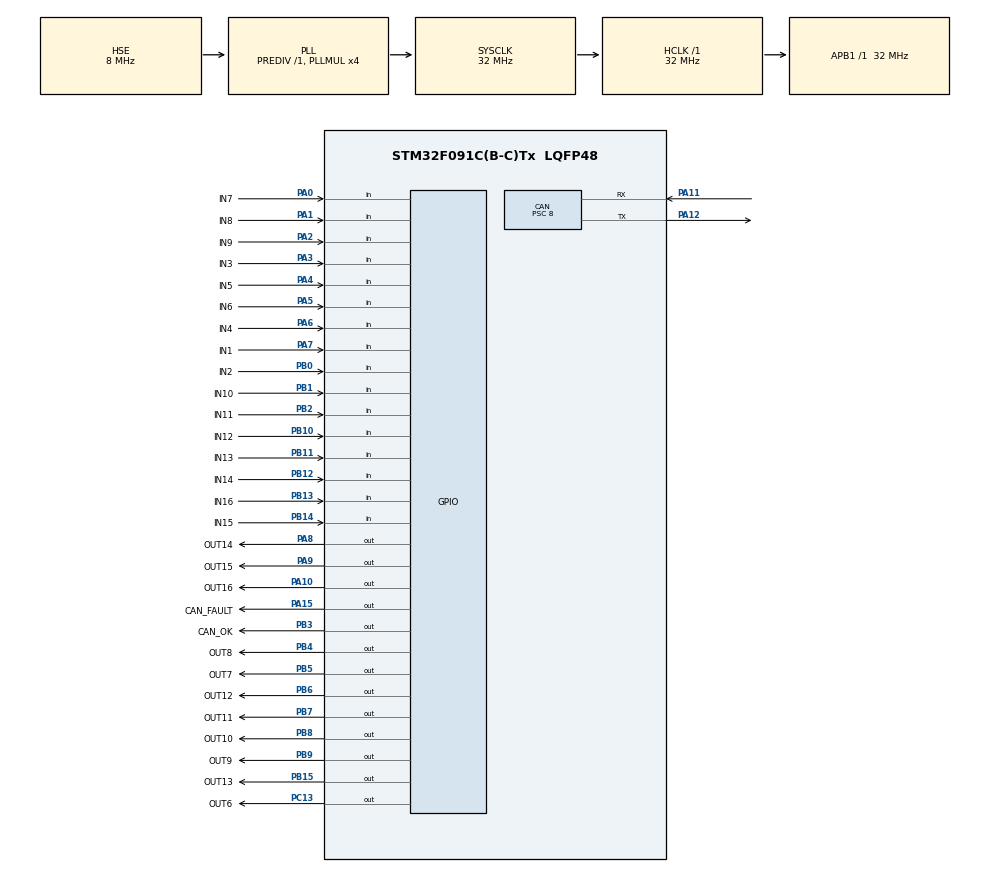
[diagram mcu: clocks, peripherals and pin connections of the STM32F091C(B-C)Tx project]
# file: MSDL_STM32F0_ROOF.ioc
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CAN.ABOM=ENABLE
CAN.AWUM=ENABLE
CAN.BS1=CAN_BS1_13TQ
CAN.BS2=CAN_BS2_2TQ
CAN.CalculateBaudRate=250000
CAN.CalculateTimeBit=4000
CAN.CalculateTimeQuantum=250.0
CAN.NART=ENABLE
CAN.Prescaler=8
FREERTOS.Tasks01=inputCheckT,24,512,inputCheck,Default,NULL,Dynamic,NULL,NULL;canOpenManagerT,40,1024,canOpenManager,Default,NULL,Dynamic,NULL,NULL;tpdoRequesterT,8,512,tpdoRequester,Default,NULL,Dynamic,NULL,NULL
FREERTOS.configTOTAL_HEAP_SIZE=16380
Mcu.Family=STM32F0
Mcu.Name=STM32F091C(B-C)Tx
Mcu.Package=LQFP48
NVIC.CEC_CAN_IRQn=true\:3\:0\:false\:false\:true\:true\:true\:true\:true
NVIC.TIM1_BRK_UP_TRG_COM_IRQn=true\:3\:0\:false\:false\:true\:false\:false\:true\:true
NVIC.TIM2_IRQn=true\:3\:0\:false\:false\:true\:true\:true\:true\:true
NVIC.TimeBase=TIM1_BRK_UP_TRG_COM_IRQn
NVIC.TimeBaseIP=TIM1
PA0.GPIO_Label=IN7
PA0.GPIO_PuPd=GPIO_PULLUP
PA0.Signal=GPIO_Input
PA1.GPIO_Label=IN8
PA1.GPIO_PuPd=GPIO_PULLUP
PA1.Signal=GPIO_Input
PA10.GPIO_Label=OUT16
PA10.GPIO_PuPd=GPIO_PULLUP
PA10.Signal=GPIO_Output
PA11.GPIO_PuPd=GPIO_PULLUP
PA11.Mode=CAN_Activate
PA11.Signal=CAN_RX
PA12.GPIO_PuPd=GPIO_PULLUP
PA12.Mode=CAN_Activate
PA12.Signal=CAN_TX
PA13.Mode=Serial_Wire
PA13.Signal=SYS_SWDIO
PA14.Mode=Serial_Wire
PA14.Signal=SYS_SWCLK
PA15.GPIO_Label=CAN_FAULT
PA15.GPIO_PuPd=GPIO_PULLUP
PA15.Signal=GPIO_Output
PA2.GPIO_Label=IN9
PA2.GPIO_PuPd=GPIO_PULLUP
PA2.Signal=GPIO_Input
PA3.GPIO_Label=IN3
PA3.GPIO_PuPd=GPIO_PULLUP
PA3.Signal=GPIO_Input
PA4.GPIO_Label=IN5
PA4.GPIO_PuPd=GPIO_PULLUP
PA4.Signal=GPIO_Input
PA5.GPIO_Label=IN6
PA5.GPIO_PuPd=GPIO_PULLUP
PA5.Signal=GPIO_Input
PA6.GPIO_Label=IN4
PA6.GPIO_PuPd=GPIO_PULLUP
PA6.Signal=GPIO_Input
PA7.GPIO_Label=IN1
PA7.GPIO_PuPd=GPIO_PULLUP
PA7.Signal=GPIO_Input
PA8.GPIO_Label=OUT14
PA8.GPIO_PuPd=GPIO_PULLUP
PA8.Signal=GPIO_Output
PA9.GPIO_Label=OUT15
PA9.GPIO_PuPd=GPIO_PULLUP
PA9.Signal=GPIO_Output
PB0.GPIO_Label=IN2
PB0.GPIO_PuPd=GPIO_PULLUP
PB0.Signal=GPIO_Input
PB1.GPIO_Label=IN10
PB1.GPIO_PuPd=GPIO_PULLUP
PB1.Signal=GPIO_Input
PB10.GPIO_Label=IN12
PB10.GPIO_PuPd=GPIO_PULLUP
PB10.Signal=GPIO_Input
PB11.GPIO_Label=IN13
PB11.GPIO_PuPd=GPIO_PULLUP
PB11.Signal=GPIO_Input
PB12.GPIO_Label=IN14
PB12.GPIO_PuPd=GPIO_PULLUP
PB12.Signal=GPIO_Input
PB13.GPIO_Label=IN16
PB13.GPIO_PuPd=GPIO_PULLUP
PB13.Signal=GPIO_Input
PB14.GPIO_Label=IN15
PB14.GPIO_PuPd=GPIO_PULLUP
PB14.Signal=GPIO_Input
PB15.GPIO_Label=OUT13
PB15.GPIO_PuPd=GPIO_PULLUP
PB15.Signal=GPIO_Output
PB2.GPIO_Label=IN11
PB2.GPIO_PuPd=GPIO_PULLUP
PB2.Signal=GPIO_Input
PB3.GPIO_Label=CAN_OK
PB3.GPIO_PuPd=GPIO_PULLUP
PB3.Signal=GPIO_Output
PB4.GPIO_Label=OUT8
PB4.GPIO_PuPd=GPIO_PULLUP
PB4.Signal=GPIO_Output
PB5.GPIO_Label=OUT7
PB5.GPIO_PuPd=GPIO_PULLUP
PB5.Signal=GPIO_Output
PB6.GPIO_Label=OUT12
PB6.GPIO_PuPd=GPIO_PULLUP
PB6.Signal=GPIO_Output
PB7.GPIO_Label=OUT11
PB7.GPIO_PuPd=GPIO_PULLUP
PB7.Signal=GPIO_Output
PB8.GPIO_Label=OUT10
PB8.GPIO_PuPd=GPIO_PULLUP
PB8.Signal=GPIO_Output
PB9.GPIO_Label=OUT9
PB9.GPIO_PuPd=GPIO_PULLUP
PB9.Signal=GPIO_Output
PC13.GPIO_Label=OUT6
PC13.GPIO_PuPd=GPIO_PULLUP
PC13.Signal=GPIO_Output
PC14OSC32_IN.GPIO_Label=OUT5
PC14OSC32_IN.GPIO_PuPd=GPIO_PULLUP
PC14OSC32_IN.Signal=GPIO_Output
PF0-OSC_IN.Mode=HSE-External-Oscillator
PF0-OSC_IN.Signal=RCC_OSC_IN
PF1-OSC_OUT.Mode=HSE-External-Oscillator
PF1-OSC_OUT.Signal=RCC_OSC_OUT
ProjectManager.HeapSize=0x200
ProjectManager.StackSize=0x400
ProjectManager.TargetToolchain=STM32CubeIDE
RCC.AHBFreq_Value=32000000
RCC.APB1Freq_Value=32000000
RCC.APB1TimFreq_Value=32000000
RCC.HCLKFreq_Value=32000000
RCC.PLLMUL=RCC_PLL_MUL4
RCC.PLLSourceVirtual=RCC_PLLSOURCE_HSE
RCC.SYSCLKFreq_VALUE=32000000
RCC.SYSCLKSource=RCC_SYSCLKSOURCE_PLLCLK
TIM2.AutoReloadPreload=TIM_AUTORELOAD_PRELOAD_ENABLE
TIM2.Period=999
TIM2.Prescaler=31
VP_FREERTOS_VS_CMSIS_V2.Mode=CMSIS_V2
VP_IWDG_VS_IWDG.Mode=IWDG_Activate
VP_SYS_VS_tim1.Mode=TIM1
VP_TIM2_VS_ClockSourceINT.Mode=Internal
board=custom

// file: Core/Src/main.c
/* USER CODE BEGIN Header */
/**
  ******************************************************************************
  * @file           : main.c
  * @brief          : Main program body
  ******************************************************************************
  * @attention
  *
  * Copyright (c) 2026 STMicroelectronics.
  * All rights reserved.
  *
  * This software is licensed under terms that can be found in the LICENSE file
  * in the root directory of this software component.
  * If no LICENSE file comes with this software, it is provided AS-IS.
  *
  ******************************************************************************
  */
/* USER CODE END Header */
#include "main.h"
#include "cmsis_os.h"
#include "can.h"
#include "iwdg.h"
#include "tim.h"
#include "gpio.h"

/* USER CODE BEGIN Includes */
#include "CO_app_STM32.h"
#include "softwareTimer_ms.h"
/* USER CODE END Includes */

void SystemClock_Config(void);
void MX_FREERTOS_Init(void);

int main(void)
{

  /* MCU Configuration--------------------------------------------------------*/

  /* Reset of all peripherals, Initializes the Flash interface and the Systick. */
  HAL_Init();

  /* Configure the system clock */
  SystemClock_Config();

  /* Initialize all configured peripherals */
  MX_GPIO_Init();
  MX_CAN_Init();
  MX_IWDG_Init();
  MX_TIM2_Init();

  /* Init scheduler */
  osKernelInitialize();  /* Call init function for freertos objects (in cmsis_os2.c) */
  MX_FREERTOS_Init();

  /* Start scheduler */
  osKernelStart();

  /* We should never get here as control is now taken by the scheduler */

  /* Infinite loop */
  while (1)
  {

  }
}

void SystemClock_Config(void)
{
  RCC_OscInitTypeDef RCC_OscInitStruct = {0};
  RCC_ClkInitTypeDef RCC_ClkInitStruct = {0};

  /** Initializes the RCC Oscillators according to the specified parameters
  * in the RCC_OscInitTypeDef structure.
  */
  RCC_OscInitStruct.OscillatorType = RCC_OSCILLATORTYPE_LSI|RCC_OSCILLATORTYPE_HSE;
  RCC_OscInitStruct.HSEState = RCC_HSE_ON;
  RCC_OscInitStruct.LSIState = RCC_LSI_ON;
  RCC_OscInitStruct.PLL.PLLState = RCC_PLL_ON;
  RCC_OscInitStruct.PLL.PLLSource = RCC_PLLSOURCE_HSE;
  RCC_OscInitStruct.PLL.PLLMUL = RCC_PLL_MUL4;
  RCC_OscInitStruct.PLL.PREDIV = RCC_PREDIV_DIV1;
  if (HAL_RCC_OscConfig(&RCC_OscInitStruct) != HAL_OK)
  {
    Error_Handler();
  }

  /** Initializes the CPU, AHB and APB buses clocks
  */
  RCC_ClkInitStruct.ClockType = RCC_CLOCKTYPE_HCLK|RCC_CLOCKTYPE_SYSCLK
                              |RCC_CLOCKTYPE_PCLK1;
  RCC_ClkInitStruct.SYSCLKSource = RCC_SYSCLKSOURCE_PLLCLK;
  RCC_ClkInitStruct.AHBCLKDivider = RCC_SYSCLK_DIV1;
  RCC_ClkInitStruct.APB1CLKDivider = RCC_HCLK_DIV1;

  if (HAL_RCC_ClockConfig(&RCC_ClkInitStruct, FLASH_LATENCY_1) != HAL_OK)
  {
    Error_Handler();
  }
}

void HAL_TIM_PeriodElapsedCallback(TIM_HandleTypeDef *htim)
{
  if (htim->Instance == TIM1)
  {
    HAL_IncTick();
  }
  /* USER CODE BEGIN Callback 1 */
  if(htim->Instance == TIM2)
  {
	  timersHandler();
  }
  /* USER CODE END Callback 1 */
}

void Error_Handler(void)
{
  __disable_irq();
  while (1)
  {
  }
}

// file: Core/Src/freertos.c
/* USER CODE BEGIN Header */
/**
  ******************************************************************************
  * File Name          : freertos.c
  * Description        : Code for freertos applications
  ******************************************************************************
  * @attention
  *
  * Copyright (c) 2026 STMicroelectronics.
  * All rights reserved.
  *
  * This software is licensed under terms that can be found in the LICENSE file
  * in the root directory of this software component.
  * If no LICENSE file comes with this software, it is provided AS-IS.
  *
  ******************************************************************************
  */
/* USER CODE END Header */

#include "FreeRTOS.h"
#include "task.h"
#include "main.h"
#include "cmsis_os.h"

/* USER CODE BEGIN Includes */
#include "CO_app_STM32.h"
#include "tim.h"
#include "can.h"
#include "NMT_functions.h"
#include "OD.h"
#include "IO_MappingFunctions.h"
#include "softwareTimer_ms.h"
#include "DigitalInputs.h"
#include "DigitalOutput.h"
#include "iwdg.h"
/* USER CODE END Includes */

/* USER CODE BEGIN PTD */
#define CANOPEN_TASK_DELAY_MS 			1
#define TPDO_REQUESTER_TASK_DELAY_MS 	1
#define INPUT_CHECK_TASK_DELAY_MS		20

#define CANOPEN_ID						11
#define COB_ID							0x480 + CANOPEN_ID
#define TPDO_INDEX						0x1800
/* USER CODE END PTD */

/* Definitions for inputCheckT */
osThreadId_t inputCheckTHandle;
const osThreadAttr_t inputCheckT_attributes = {
  .name = "inputCheckT",
  .stack_size = 512 * 4,
  .priority = (osPriority_t) osPriorityNormal,
};
/* Definitions for canOpenManagerT */
osThreadId_t canOpenManagerTHandle;
const osThreadAttr_t canOpenManagerT_attributes = {
  .name = "canOpenManagerT",
  .stack_size = 1024 * 4,
  .priority = (osPriority_t) osPriorityHigh,
};
/* Definitions for tpdoRequesterT */
osThreadId_t tpdoRequesterTHandle;
const osThreadAttr_t tpdoRequesterT_attributes = {
  .name = "tpdoRequesterT",
  .stack_size = 512 * 4,
  .priority = (osPriority_t) osPriorityLow,
};

void inputCheck(void *argument);
void canOpenManager(void *argument);
void tpdoRequester(void *argument);

void MX_FREERTOS_Init(void); /* (MISRA C 2004 rule 8.1) */

void MX_FREERTOS_Init(void) {

  /* Create the thread(s) */
  /* creation of inputCheckT */
  inputCheckTHandle = osThreadNew(inputCheck, NULL, &inputCheckT_attributes);

  /* creation of canOpenManagerT */
  canOpenManagerTHandle = osThreadNew(canOpenManager, NULL, &canOpenManagerT_attributes);

  /* creation of tpdoRequesterT */
  tpdoRequesterTHandle = osThreadNew(tpdoRequester, NULL, &tpdoRequesterT_attributes);

}

void inputCheck(void *argument)
{
  /* USER CODE BEGIN inputCheck */
	  /* Infinite loop */
  const OD_entry_t *entry = OD_find(OD, 0x6100);

  for(;;)
  {
	HAL_IWDG_Refresh(&hiwdg);
	for(uint8_t subIndex = 1; subIndex <= OD_CNT_ARR_6100; ++subIndex)
	{
		OD_IO_t io;
		{
			ODR_t result = OD_getSub(entry, subIndex, &io, 0);
		}

		//check if input is enabled
		uint8_t enabledInput = 0;
		uint8_t *identifier = (uint8_t *)io.stream.dataOrig;
		uint8_t state = 0;

		for(uint8_t i = 0; i < 5; ++i)
		{
			if(identifier[i])
			{
				enabledInput = 1;
				break;
			}
		}

		if(enabledInput)
		{
			state = HAL_GPIO_ReadPin(digitalInput[subIndex - 1].port, digitalInput[subIndex - 1].pin);
			identifier[5] = state;
		}

		// check if input has changed
		uint8_t inputChanged = memcmp(virtualInputMapping[subIndex - 1].InputFunctionID, identifier, sizeof(virtualInputMapping[subIndex - 1].InputFunctionID)) == 0;

		if(inputChanged)
		{
			continue;
		}

		memcpy(virtualInputMapping[subIndex - 1].InputFunctionID, identifier, sizeof(virtualInputMapping[subIndex - 1].InputFunctionID));

		if(virtualInputMapping[subIndex - 1].pending) //check if already pending
		{
			continue;
		}

		virtualInputMapping[subIndex - 1].pending = 1;
		++pendingVirtualInputMappings;

	}

	osDelay(pdMS_TO_TICKS(INPUT_CHECK_TASK_DELAY_MS));
  }
  /* USER CODE END inputCheck */
}

void canOpenManager(void *argument)
{
  /* USER CODE BEGIN canOpenManager */
  OD_extension_t virtualInputMappingExtension = {0, virtualInputMappingRead, OD_writeOriginal, 0};
  ODR_t result = OD_extension_init(OD_find(OD, 0x6010), &virtualInputMappingExtension);

  OD_extension_t virtualOutputMappingExtension = {0, OD_readOriginal, virtualOutputMappingWrite, 0};
  result = OD_extension_init(OD_find(OD, 0x6011), &virtualOutputMappingExtension);

  OD_extension_t outputGroupExtension = {0, OD_readOriginal, outputGroupWrite, 0};
  result  = OD_extension_init(OD_find(OD, 0x6200), &outputGroupExtension);

  OD_extension_t saveParametersExtension = {0, OD_readOriginal, saveParametersWrite, 0};
  result  = OD_extension_init(OD_find(OD, 0x1010), &saveParametersExtension);

  canOpenNodeSTM32.CANHandle = &hcan;
  canOpenNodeSTM32.HWInitFunction = MX_CAN_Init;
  canOpenNodeSTM32.timerHandle = &htim2;
  canOpenNodeSTM32.desiredNodeID = CANOPEN_ID;
  canOpenNodeSTM32.baudrate = 250;

  uint32_t correctTpdo1CobId = COB_ID;

  //Set COB-ID for TPDO
  OD_entry_t *tpdoCommEntry = OD_find(OD, TPDO_INDEX);
  if (tpdoCommEntry != NULL) {
	  OD_IO_t io;

	  // Get subindex 1 — COB-ID
	  if (OD_getSub(tpdoCommEntry, 1, &io, 0) == ODR_OK) {
		  uint32_t *cobIdPtr = (uint32_t *)io.stream.dataOrig;

		  // Disable PDO temporarily (set bit 31)
		  *cobIdPtr |= 0x80000000;

		  // Update COB-ID
		  *cobIdPtr = correctTpdo1CobId;

		  // Re-enable PDO (clear bit 31)
		  *cobIdPtr &= ~0x80000000;
	  }
  }

  canopen_app_init(&canOpenNodeSTM32);
  CO_NMT_initCallbackChanged(canOpenNodeSTM32.canOpenStack->NMT, nmtStateChangedCallback);
  /* Infinite loop */
  for(;;)
  {
	HAL_IWDG_Refresh(&hiwdg);
	HAL_GPIO_WritePin(CAN_OK_GPIO_Port, CAN_OK_Pin , canOpenNodeSTM32.outStatusLEDGreen);
	HAL_GPIO_WritePin(CAN_FAULT_GPIO_Port, CAN_FAULT_Pin, canOpenNodeSTM32.outStatusLEDRed);

	canopen_app_interrupt();
	canopen_app_process();

	ulTaskNotifyTake(pdTRUE, pdMS_TO_TICKS(CANOPEN_TASK_DELAY_MS));
  }
  /* USER CODE END canOpenManager */
}

void tpdoRequester(void *argument)
{
  /* USER CODE BEGIN tpdoRequester */
	uint8_t *flags6010 = OD_getFlagsPDO(OD_find(OD,0x6010));
  /* Infinite loop */
  for(;;)
  {
	  HAL_IWDG_Refresh(&hiwdg);
	  osDelay(pdMS_TO_TICKS(TPDO_REQUESTER_TASK_DELAY_MS));

	  if(pendingVirtualInputMappings == 0) //check if there is any virtual input mapping pending
	  {
		  continue;
	  }

	  if(OD_TPDOtransmitted(flags6010, 0) == false) //check if there is any 6010 Od tpdo transmited
	  {
		  continue;
	  }

	  if(canOpenNodeSTM32.canOpenStack->TPDO[0].CANtxBuff->bufferFull == true)
	  {
		  continue;
	  }

	  OD_requestTPDO(flags6010, 0);
  }
  /* USER CODE END tpdoRequester */
}
